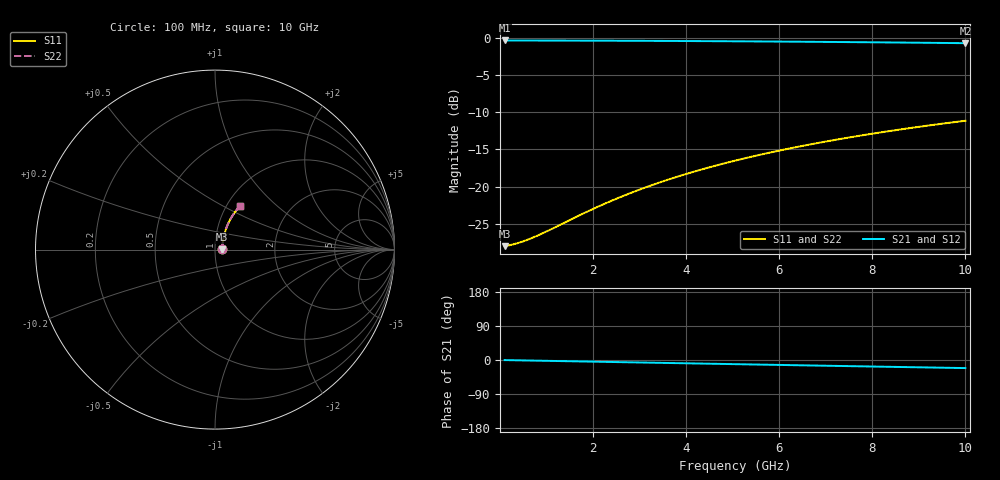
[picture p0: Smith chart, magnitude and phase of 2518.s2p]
# Hz S RI R 50.00
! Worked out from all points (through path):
!   100 points, 100 MHz to 10 GHz, reference 50 ohm
!   highest |S21| = -0.35 dB at 100 MHz (marker M1); lowest = -0.7 dB at 10 GHz (marker M2)
!   group delay of S21, straight-line fit = 5.94 ps
!   lowest |S11| = -28.0 dB at 100 MHz (marker M3), VSWR 1.08, Z = 54.1 + j0.296 ohm
!   |S11| at or under -10 dB: start of sweep to end of sweep
!   |S22| runs from -28.0 to -11.1 dB; largest |S21 - S12| = 0
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1e8  0.0396 0.00273  0.9604 -0.00367  0.9604 -0.00367  0.0396 0.00273
3e8  0.0402 0.00818  0.9598 -0.011  0.9598 -0.011  0.0402 0.00818
4e8  0.0404 0.0109  0.9596 -0.0147  0.9596 -0.0147  0.0404 0.0109
5e8  0.0406 0.0136  0.9594 -0.0183  0.9594 -0.0183  0.0406 0.0136
7e8  0.0411 0.0191  0.9589 -0.0256  0.9589 -0.0256  0.0411 0.0191
1e9  0.0418 0.0272  0.9581 -0.0366  0.9581 -0.0366  0.0418 0.0272
1.8e9  0.0446 0.0488  0.9552 -0.0657  0.9552 -0.0657  0.0446 0.0488
2.2e9  0.0465 0.0595  0.9533 -0.0802  0.9533 -0.0802  0.0465 0.0595
2.6e9  0.0486 0.0701  0.9511 -0.0946  0.9511 -0.0946  0.0486 0.0701
3e9  0.051 0.0806  0.9485 -0.1089  0.9485 -0.1089  0.051 0.0806
3.4e9  0.0538 0.091  0.9457 -0.1231  0.9457 -0.1231  0.0538 0.091
3.8e9  0.0568 0.1014  0.9425 -0.1372  0.9425 -0.1372  0.0568 0.1014
4.2e9  0.0601 0.1116  0.939 -0.1512  0.939 -0.1512  0.0601 0.1116
4.6e9  0.0637 0.1217  0.9353 -0.165  0.9353 -0.165  0.0637 0.1217
5.1e9  0.0687 0.1341  0.9301 -0.1821  0.9301 -0.1821  0.0687 0.1341
5.5e9  0.0729 0.1438  0.9256 -0.1957  0.9256 -0.1957  0.0729 0.1438
5.9e9  0.0775 0.1534  0.9209 -0.209  0.9209 -0.209  0.0775 0.1534
6.7e9  0.0873 0.172  0.9106 -0.2353  0.9106 -0.2353  0.0873 0.172
7.5e9  0.0982 0.1899  0.8992 -0.2608  0.8992 -0.2608  0.0982 0.1899
8.4e9  0.1115 0.2091  0.8852 -0.2885  0.8852 -0.2885  0.1115 0.2091
9.2e9  0.1242 0.2252  0.8718 -0.3122  0.8718 -0.3122  0.1242 0.2252
1e10  0.1377 0.2404  0.8576 -0.335  0.8576 -0.335  0.1377 0.2404
